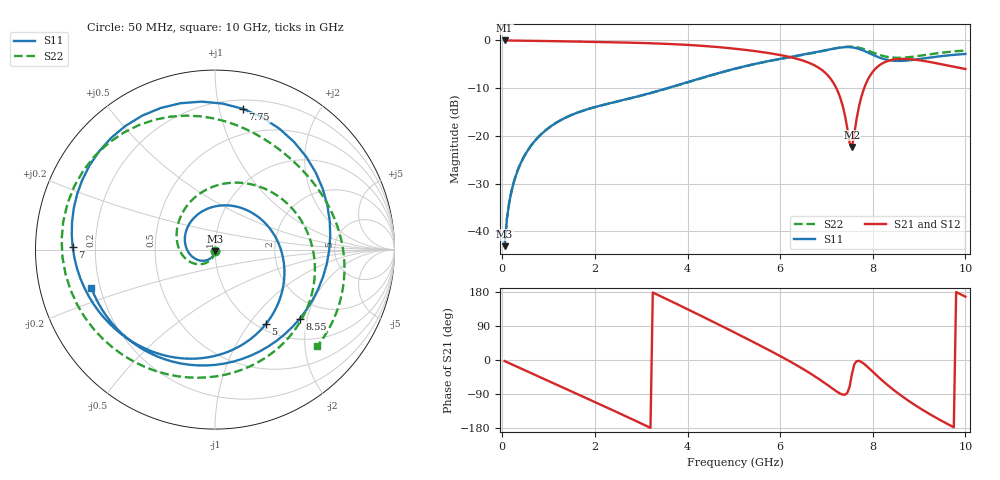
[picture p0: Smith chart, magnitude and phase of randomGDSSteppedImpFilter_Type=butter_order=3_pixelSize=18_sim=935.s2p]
! freq	dB(S11)	phase(S11)	dB(S12)	phase(S12)
!  dB(S21)	phase(S21)	dB(S22)	phase(S22)
!S-par simulation data
#  GHz  S  DB  R 50
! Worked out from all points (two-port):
!   200 points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, 50 MHz to 10 GHz, reference 50 ohm
!   highest |S21| = -0.01 dB at 50 MHz (marker M1); lowest = -22.4 dB at 7.55 GHz (marker M2)
!   |S21| within 3 dB of the highest: start of sweep to 5.97 GHz
!   lowest |S11| = -43.1 dB at 50 MHz (marker M3), VSWR 1.01, Z = 50 - j0.698 ohm
!   |S11| at or under -10 dB: start of sweep to 3.568 GHz
!   |S22| runs from -43.1 to -1.3 dB; largest |S21 - S12| = 0
!   S11 on the Smith chart (normalised r, x): 50 MHz: 1.00, -0.01; 5 GHz: 1.09, -1.21; 7 GHz: 0.12, +0.01; 7.75 GHz: 0.27, +1.18; 8.55 GHz: 1.47, -1.80; 10 GHz: 0.17, -0.15
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0.05  -43.12 -88.5  -0.01 -2.8  -0.01 -2.8  -43.12 -89.5
0.1  -37.39 -94.0  -0.01 -5.6  -0.01 -5.6  -37.36 -92.7
0.2  -31.53 -102.1  -0.02 -11.2  -0.02 -11.2  -31.52 -98.8
0.5  -23.83 -122.3  -0.06 -27.9  -0.06 -27.9  -23.81 -114.2
1.15  -17.35 -164.8  -0.16 -63.8  -0.16 -63.8  -17.34 -144.3
1.75  -14.70 154.6  -0.27 -97.1  -0.27 -97.1  -14.70 -170.6
2.65  -12.40 90.9  -0.45 -147.5  -0.45 -147.5  -12.42 152.2
3.4  -10.47 38.7  -0.67 169.4  -0.67 169.4  -10.52 118.2
4.25  -8.02 -13.9  -1.09 119.1  -1.09 119.1  -8.07 70.8
5  -5.98 -55.6  -1.71 73.5  -1.71 73.5  -6.02 21.9
5.05  -5.86 -58.3  -1.77 70.4  -1.77 70.4  -5.89 18.5
5.9  -4.04 -104.7  -2.89 16.9  -2.89 16.9  -4.08 -42.0
6.7  -2.60 -155.8  -5.02 -39.2  -5.02 -39.2  -2.66 -106.7
7  -2.01 178.9  -7.03 -64.0  -7.03 -64.0  -2.06 -136.0
7.3  -1.50 146.2  -12.08 -88.8  -12.08 -88.8  -1.47 -170.7
7.55  -1.46 111.0  -22.35 -37.2  -22.35 -37.2  -1.31 155.8
7.75  -1.94 78.7  -11.95 -4.8  -11.95 -4.8  -1.65 127.9
8.05  -3.23 29.6  -6.00 -36.8  -6.00 -36.8  -2.71 90.8
8.35  -4.14 -14.2  -4.24 -69.2  -4.24 -69.2  -3.50 61.9
8.55  -4.30 -39.2  -3.91 -88.3  -3.91 -88.3  -3.64 45.8
9.2  -3.64 -102.7  -4.46 -140.7  -4.46 -140.7  -2.96 1.1
10  -2.84 -162.8  -5.99 167.1  -5.99 167.1  -2.12 -43.5
